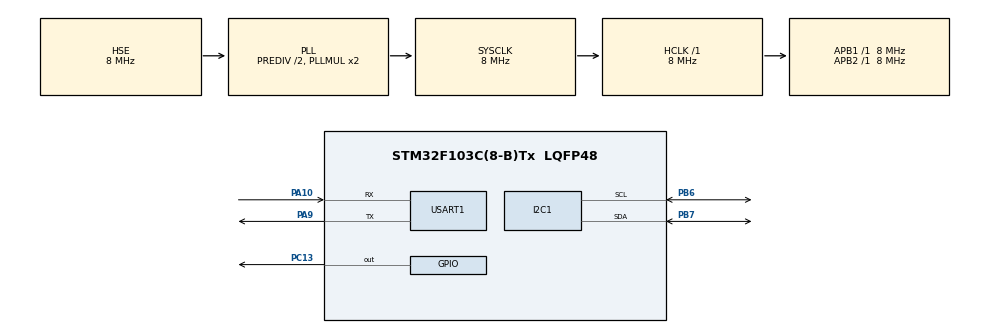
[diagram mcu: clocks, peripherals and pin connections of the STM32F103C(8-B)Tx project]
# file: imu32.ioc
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Dma.I2C1_RX.1.Direction=DMA_PERIPH_TO_MEMORY
Dma.I2C1_RX.1.Instance=DMA1_Channel7
Dma.I2C1_RX.1.MemDataAlignment=DMA_MDATAALIGN_BYTE
Dma.I2C1_RX.1.MemInc=DMA_MINC_ENABLE
Dma.I2C1_RX.1.Mode=DMA_NORMAL
Dma.I2C1_RX.1.PeriphDataAlignment=DMA_PDATAALIGN_BYTE
Dma.I2C1_RX.1.PeriphInc=DMA_PINC_DISABLE
Dma.I2C1_RX.1.Priority=DMA_PRIORITY_LOW
Dma.I2C1_TX.0.Direction=DMA_MEMORY_TO_PERIPH
Dma.I2C1_TX.0.Instance=DMA1_Channel6
Dma.I2C1_TX.0.MemDataAlignment=DMA_MDATAALIGN_WORD
Dma.I2C1_TX.0.MemInc=DMA_MINC_ENABLE
Dma.I2C1_TX.0.Mode=DMA_NORMAL
Dma.I2C1_TX.0.PeriphDataAlignment=DMA_PDATAALIGN_WORD
Dma.I2C1_TX.0.PeriphInc=DMA_PINC_DISABLE
Dma.I2C1_TX.0.Priority=DMA_PRIORITY_LOW
Dma.Request0=I2C1_TX
Dma.Request1=I2C1_RX
I2C1.I2C_Mode=I2C_Fast
Mcu.Family=STM32F1
Mcu.Name=STM32F103C(8-B)Tx
Mcu.Package=LQFP48
NVIC.DMA1_Channel6_IRQn=true\:0\:0\:false\:false\:true\:false\:true
NVIC.DMA1_Channel7_IRQn=true\:0\:0\:false\:false\:true\:false\:true
NVIC.PriorityGroup=NVIC_PRIORITYGROUP_4
PA10.Mode=Asynchronous
PA10.Signal=USART1_RX
PA13.Mode=Serial_Wire
PA13.Signal=SYS_JTMS-SWDIO
PA14.Mode=Serial_Wire
PA14.Signal=SYS_JTCK-SWCLK
PA9.Mode=Asynchronous
PA9.Signal=USART1_TX
PB6.Mode=I2C
PB6.Signal=I2C1_SCL
PB7.Mode=I2C
PB7.Signal=I2C1_SDA
PC13-TAMPER-RTC.Signal=GPIO_Output
PD0-OSC_IN.Mode=HSE-External-Oscillator
PD0-OSC_IN.Signal=RCC_OSC_IN
PD1-OSC_OUT.Mode=HSE-External-Oscillator
PD1-OSC_OUT.Signal=RCC_OSC_OUT
ProjectManager.HeapSize=0x200
ProjectManager.StackSize=0x400
ProjectManager.TargetToolchain=MDK-ARM V5
RCC.AHBFreq_Value=8000000
RCC.APB1Freq_Value=8000000
RCC.APB1TimFreq_Value=8000000
RCC.APB2Freq_Value=8000000
RCC.APB2TimFreq_Value=8000000
RCC.HCLKFreq_Value=8000000
RCC.HSEDivPLL=RCC_HSE_PREDIV_DIV2
RCC.PLLSourceVirtual=RCC_PLLSOURCE_HSE
RCC.SYSCLKFreq_VALUE=8000000
RCC.SYSCLKSource=RCC_SYSCLKSOURCE_PLLCLK
RCC.USBFreq_Value=8000000
USART1.VirtualMode=VM_ASYNC
board=custom

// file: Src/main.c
/* USER CODE BEGIN Header */
/**
  ******************************************************************************
  * @file           : main.c
  * @brief          : Main program body
  ******************************************************************************
  * @attention
  *
  * <h2><center>&copy; Copyright (c) 2019 STMicroelectronics.
  * All rights reserved.</center></h2>
  *
  * This software component is licensed by ST under BSD 3-Clause license,
  * the "License"; You may not use this file except in compliance with the
  * License. You may obtain a copy of the License at:
  *                        opensource.org/licenses/BSD-3-Clause
  *
  ******************************************************************************
  */
/* USER CODE END Header */

#include "main.h"

/* USER CODE BEGIN Includes */
#include "MPU9250.h"
/* USER CODE END Includes */

I2C_HandleTypeDef hi2c1;
DMA_HandleTypeDef hdma_i2c1_tx;
DMA_HandleTypeDef hdma_i2c1_rx;

UART_HandleTypeDef huart1;

void SystemClock_Config(void);
static void MX_GPIO_Init(void);
static void MX_DMA_Init(void);
static void MX_I2C1_Init(void);
static void MX_USART1_UART_Init(void);

/* USER CODE BEGIN 0 */
char UART1buffer[20];
uint8_t accBuffer[6];
uint8_t gyroBuffer[6];
int16_t ax;
int16_t ay;
int16_t az;
int16_t gx;
int16_t gy;
int16_t gz;
uint8_t temp[2];
int16_t temperature;
uint8_t whoami;
float ax_off, ay_off, az_off, gx_off, gy_off, gz_off;
long count=0;

float Xacc, Yacc, Zacc, Xgyro, Ygyro, Zgyro;

void MPU9250_Test()
{

		MPU9250_Readbytes(&hi2c1, MPU9250_ACCEL_XOUT_H, accBuffer, 6);
//		MPU9250_Readbytes(&hi2c1, MPU9250_ACCEL_XOUT_L, &accBuffer[1], 1);
//		MPU9250_Readbytes(&hi2c1, MPU9250_ACCEL_YOUT_H, &accBuffer[2], 1);
//		MPU9250_Readbytes(&hi2c1, MPU9250_ACCEL_YOUT_L, &accBuffer[3], 1);
//		MPU9250_Readbytes(&hi2c1, MPU9250_ACCEL_ZOUT_H, &accBuffer[4], 1);
//		MPU9250_Readbytes(&hi2c1, MPU9250_ACCEL_ZOUT_L, &accBuffer[5], 1);

		ax = (((int16_t)accBuffer[0]) << 8) |  accBuffer[1];
		ay = (((int16_t)accBuffer[2]) << 8) |  accBuffer[3];
		az = (((int16_t)accBuffer[4]) << 8) |  accBuffer[5];

		ax += 56;
		ay += -16;
		az += -86;

		Xacc = -(float)ax * 4.78522e-3;
		Yacc = -(float)ay * 4.78522e-3;
		Zacc = -(float)az * 4.78522e-3;

		MPU9250_Readbytes(&hi2c1, MPU9250_GYRO_XOUT_H, gyroBuffer, 6);
		gx = ((gyroBuffer[0] << 8 ) |  gyroBuffer[1]);
		gy = ((gyroBuffer[2] << 8 ) |  gyroBuffer[3]);
		gz = ((gyroBuffer[4] << 8 ) |  gyroBuffer[5]);

		gx += 126;
		gy += -84;
		gz += 15;

		Xgyro = (float)gx * 7.62951e-3;
		Ygyro = (float)gy * 7.62951e-3;
		Zgyro = (float)gz * 7.62951e-3;

		MPU9250_Readbytes(&hi2c1, MPU9250_TEMP_OUT_H , temp, 2);
		temperature = ((temp[0] << 8 ) |  temp[1]);

		if(count++ > 0)
		{
			ax_off = (ax_off*(count-1) + (float)ax ) / count ;
			ay_off = (ay_off*(count-1) + (float)ay ) / count ;
			az_off = (az_off*(count-1) + (float)az ) / count ;
			gx_off = (gx_off*(count-1) + (float)gx ) / count ;
			gy_off = (gy_off*(count-1) + (float)gy ) / count ;
			gz_off = (gz_off*(count-1) + (float)gz ) / count ;
		}

}

/* USER CODE END 0 */

int main(void)
{

  /* MCU Configuration--------------------------------------------------------*/

  /* Reset of all peripherals, Initializes the Flash interface and the Systick. */
  HAL_Init();

  /* Configure the system clock */
  SystemClock_Config();

  /* Initialize all configured peripherals */
  MX_GPIO_Init();
  MX_DMA_Init();
  MX_I2C1_Init();
  MX_USART1_UART_Init();

  /* USER CODE BEGIN 2 */
	MPU9250_SetAccFullScale(&hi2c1, ACC_FS_16g);
	MPU9250_SetGyroFullScale(&hi2c1, GYRO_FS_500dps);
	//MPU9250_Writebit(&hi2c1, MPU9250_USER_CTRL, 0, I2C_MST_EN);

	//HAL_I2C_Master_Transmit(&hi2c1, MPU9250_ADDR, (uint8_t*)i2cBuffer, 3, 100);
  /* USER CODE END 2 */
	MPU9250_ConfigGyroDLPFilter(&hi2c1, GYRO_DLPF_BW_5Hz);
	MPU9250_ConfigAccelDLPFilter(&hi2c1, ACCEL_DLPF_BW_5Hz);
	MPU9250_Writebit(&hi2c1, MPU9250_INT_PIN_CFG, 1, BYPASS_EN);

	uint8_t magID;
	AK8963_Readbytes(&hi2c1, AK8963_WIA, &magID, 1);

	//Get MPU ID
	MPU9250_Readbytes(&hi2c1, MPU9250_WHO_AM_I, &whoami, 1);

	if(whoami != 0x71)
		return 1;

  while (1)
  {

		/* Infinite loop */
		/* USER CODE BEGIN WHILE */

		MPU9250_Test();
		HAL_Delay(100);

	  /* USER CODE END WHILE */
  }

}

void SystemClock_Config(void)
{
  RCC_OscInitTypeDef RCC_OscInitStruct = {0};
  RCC_ClkInitTypeDef RCC_ClkInitStruct = {0};

  /** Initializes the CPU, AHB and APB busses clocks
  */
  RCC_OscInitStruct.OscillatorType = RCC_OSCILLATORTYPE_HSE;
  RCC_OscInitStruct.HSEState = RCC_HSE_ON;
  RCC_OscInitStruct.HSEPredivValue = RCC_HSE_PREDIV_DIV2;
  RCC_OscInitStruct.HSIState = RCC_HSI_ON;
  RCC_OscInitStruct.PLL.PLLState = RCC_PLL_ON;
  RCC_OscInitStruct.PLL.PLLSource = RCC_PLLSOURCE_HSE;
  RCC_OscInitStruct.PLL.PLLMUL = RCC_PLL_MUL2;
  if (HAL_RCC_OscConfig(&RCC_OscInitStruct) != HAL_OK)
  {
    Error_Handler();
  }
  /** Initializes the CPU, AHB and APB busses clocks
  */
  RCC_ClkInitStruct.ClockType = RCC_CLOCKTYPE_HCLK|RCC_CLOCKTYPE_SYSCLK
                              |RCC_CLOCKTYPE_PCLK1|RCC_CLOCKTYPE_PCLK2;
  RCC_ClkInitStruct.SYSCLKSource = RCC_SYSCLKSOURCE_PLLCLK;
  RCC_ClkInitStruct.AHBCLKDivider = RCC_SYSCLK_DIV1;
  RCC_ClkInitStruct.APB1CLKDivider = RCC_HCLK_DIV1;
  RCC_ClkInitStruct.APB2CLKDivider = RCC_HCLK_DIV1;

  if (HAL_RCC_ClockConfig(&RCC_ClkInitStruct, FLASH_LATENCY_0) != HAL_OK)
  {
    Error_Handler();
  }
}

static void MX_I2C1_Init(void)
{

  hi2c1.Instance = I2C1;
  hi2c1.Init.ClockSpeed = 400000;
  hi2c1.Init.DutyCycle = I2C_DUTYCYCLE_2;
  hi2c1.Init.OwnAddress1 = 0;
  hi2c1.Init.AddressingMode = I2C_ADDRESSINGMODE_7BIT;
  hi2c1.Init.DualAddressMode = I2C_DUALADDRESS_DISABLE;
  hi2c1.Init.OwnAddress2 = 0;
  hi2c1.Init.GeneralCallMode = I2C_GENERALCALL_DISABLE;
  hi2c1.Init.NoStretchMode = I2C_NOSTRETCH_DISABLE;
  if (HAL_I2C_Init(&hi2c1) != HAL_OK)
  {
    Error_Handler();
  }

}

static void MX_USART1_UART_Init(void)
{

  huart1.Instance = USART1;
  huart1.Init.BaudRate = 115200;
  huart1.Init.WordLength = UART_WORDLENGTH_8B;
  huart1.Init.StopBits = UART_STOPBITS_1;
  huart1.Init.Parity = UART_PARITY_NONE;
  huart1.Init.Mode = UART_MODE_TX_RX;
  huart1.Init.HwFlowCtl = UART_HWCONTROL_NONE;
  huart1.Init.OverSampling = UART_OVERSAMPLING_16;
  if (HAL_UART_Init(&huart1) != HAL_OK)
  {
    Error_Handler();
  }

}

static void MX_DMA_Init(void)
{

  /* DMA controller clock enable */
  __HAL_RCC_DMA1_CLK_ENABLE();

  /* DMA interrupt init */
  /* DMA1_Channel6_IRQn interrupt configuration */
  HAL_NVIC_SetPriority(DMA1_Channel6_IRQn, 0, 0);
  HAL_NVIC_EnableIRQ(DMA1_Channel6_IRQn);
  /* DMA1_Channel7_IRQn interrupt configuration */
  HAL_NVIC_SetPriority(DMA1_Channel7_IRQn, 0, 0);
  HAL_NVIC_EnableIRQ(DMA1_Channel7_IRQn);

}

static void MX_GPIO_Init(void)
{
  GPIO_InitTypeDef GPIO_InitStruct = {0};

  /* GPIO Ports Clock Enable */
  __HAL_RCC_GPIOC_CLK_ENABLE();
  __HAL_RCC_GPIOD_CLK_ENABLE();
  __HAL_RCC_GPIOA_CLK_ENABLE();
  __HAL_RCC_GPIOB_CLK_ENABLE();

  /*Configure GPIO pin Output Level */
  HAL_GPIO_WritePin(GPIOC, GPIO_PIN_13, GPIO_PIN_RESET);

  /*Configure GPIO pin : PC13 */
  GPIO_InitStruct.Pin = GPIO_PIN_13;
  GPIO_InitStruct.Mode = GPIO_MODE_OUTPUT_PP;
  GPIO_InitStruct.Pull = GPIO_NOPULL;
  GPIO_InitStruct.Speed = GPIO_SPEED_FREQ_LOW;
  HAL_GPIO_Init(GPIOC, &GPIO_InitStruct);

}

void Error_Handler(void)
{
}

/************************ (C) COPYRIGHT STMicroelectronics *****END OF FILE****/
